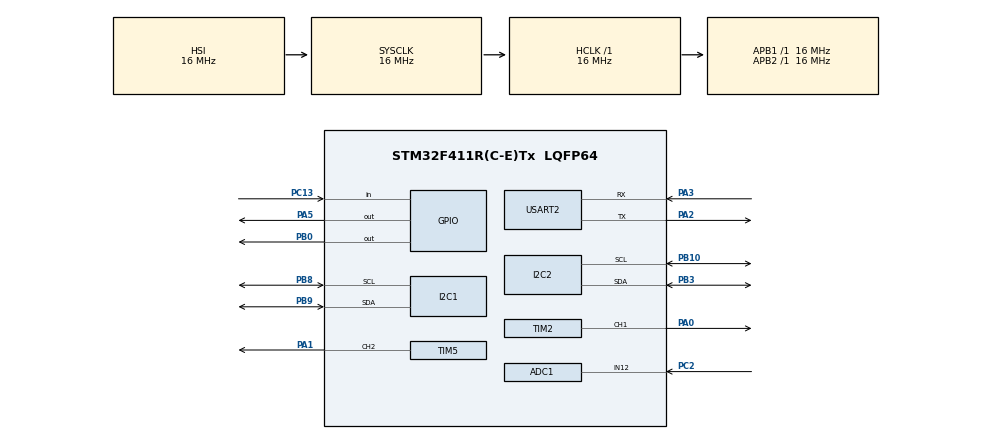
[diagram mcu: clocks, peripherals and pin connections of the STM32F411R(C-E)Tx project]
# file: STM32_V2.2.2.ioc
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ADC1.Channel-16\#ChannelRegularConversion=ADC_CHANNEL_12
ADC1.ContinuousConvMode=ENABLE
ADC1.EOCSelection=ADC_EOC_SEQ_CONV
ADC1.NbrOfConversionFlag=1
ADC1.Rank-16\#ChannelRegularConversion=1
ADC1.SamplingTime-16\#ChannelRegularConversion=ADC_SAMPLETIME_3CYCLES
ADC1.master=1
FREERTOS.Queues01=queue_ISENSE,256,uint16_t,NULL,Dynamic,NULL,NULL;queue_Direction,16,uint16_t,NULL,Dynamic,NULL,NULL;Queue_Propulsion,16,uint16_t,NULL,Dynamic,NULL,NULL
FREERTOS.Tasks01=task_UART,-1,128,start_Task_UART,Default,NULL,Dynamic,NULL,NULL;task_LED,-1,128,start_Task_LED,Default,NULL,Dynamic,NULL,NULL;task_I2C,1,128,start_Task_I2C,Default,NULL,Dynamic,NULL,NULL;task_Control,3,128,Task_Control,Default,NULL,Dynamic,NULL,NULL
I2C1.OwnAddress=0x20
I2C2.OwnAddress=0x30
Mcu.Family=STM32F4
Mcu.Name=STM32F411R(C-E)Tx
Mcu.Package=LQFP64
NVIC.I2C1_EV_IRQn=true\:5\:0\:true\:false\:true\:false\:true
NVIC.I2C2_EV_IRQn=true\:0\:0\:false\:false\:true\:false\:true
NVIC.PriorityGroup=NVIC_PRIORITYGROUP_4
PA0-WKUP.Signal=S_TIM2_CH1_ETR
PA1.Signal=S_TIM5_CH2
PA2.Mode=Asynchronous
PA2.Signal=USART2_TX
PA3.Mode=Asynchronous
PA3.Signal=USART2_RX
PA5.Signal=GPIO_Output
PB0.Signal=GPIO_Output
PB10.Mode=I2C
PB10.Signal=I2C2_SCL
PB3.Mode=I2C
PB3.Signal=I2C2_SDA
PB8.Mode=I2C
PB8.Signal=I2C1_SCL
PB9.Mode=I2C
PB9.Signal=I2C1_SDA
PC13-ANTI_TAMP.Signal=GPIO_Input
PC2.Signal=ADCx_IN12
ProjectManager.HeapSize=0x200
ProjectManager.StackSize=0x400
ProjectManager.TargetToolchain=SW4STM32
RCC.AHBFreq_Value=16000000
RCC.APB1Freq_Value=16000000
RCC.APB2Freq_Value=16000000
RCC.CortexFreq_Value=16000000
RCC.HSE_VALUE=25000000
RCC.HSI_VALUE=16000000
RCC.LSE_VALUE=32768
RCC.SYSCLKFreq_VALUE=16000000
RCC.VCOOutputFreq_Value=192000000
SH.ADCx_IN12.0=ADC1_IN12,IN12
SH.S_TIM2_CH1_ETR.0=TIM2_CH1,PWM Generation1 CH1
SH.S_TIM5_CH2.0=TIM5_CH2,PWM Generation2 CH2
TIM2.Channel-PWM\ Generation1\ CH1=TIM_CHANNEL_1
TIM5.Channel-PWM\ Generation2\ CH2=TIM_CHANNEL_2
USART2.VirtualMode=VM_ASYNC
VP_FREERTOS_VS_ENABLE.Mode=Enabled
board=STM32_V2.2.2

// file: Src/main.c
/**
  ******************************************************************************
  * File Name          : main.c
  * Description        : Main program body
  ******************************************************************************
  * This notice applies to any and all portions of this file
  * that are not between comment pairs USER CODE BEGIN and
  * USER CODE END. Other portions of this file, whether
  * inserted by the user or by software development tools
  * are owned by their respective copyright owners.
  *
  * Copyright (c) 2017 STMicroelectronics International N.V.
  * All rights reserved.
  *
  * Redistribution and use in source and binary forms, with or without
  * modification, are permitted, provided that the following conditions are met:
  *
  * 1. Redistribution of source code must retain the above copyright notice,
  *    this list of conditions and the following disclaimer.
  * 2. Redistributions in binary form must reproduce the above copyright notice,
  *    this list of conditions and the following disclaimer in the documentation
  *    and/or other materials provided with the distribution.
  * 3. Neither the name of STMicroelectronics nor the names of other
  *    contributors to this software may be used to endorse or promote products
  *    derived from this software without specific written permission.
  * 4. This software, including modifications and/or derivative works of this
  *    software, must execute solely and exclusively on microcontroller or
  *    microprocessor devices manufactured by or for STMicroelectronics.
  * 5. Redistribution and use of this software other than as permitted under
  *    this license is void and will automatically terminate your rights under
  *    this license.
  *
  * THIS SOFTWARE IS PROVIDED BY STMICROELECTRONICS AND CONTRIBUTORS "AS IS"
  * AND ANY EXPRESS, IMPLIED OR STATUTORY WARRANTIES, INCLUDING, BUT NOT
  * LIMITED TO, THE IMPLIED WARRANTIES OF MERCHANTABILITY, FITNESS FOR A
  * PARTICULAR PURPOSE AND NON-INFRINGEMENT OF THIRD PARTY INTELLECTUAL PROPERTY
  * RIGHTS ARE DISCLAIMED TO THE FULLEST EXTENT PERMITTED BY LAW. IN NO EVENT
  * SHALL STMICROELECTRONICS OR CONTRIBUTORS BE LIABLE FOR ANY DIRECT, INDIRECT,
  * INCIDENTAL, SPECIAL, EXEMPLARY, OR CONSEQUENTIAL DAMAGES (INCLUDING, BUT NOT
  * LIMITED TO, PROCUREMENT OF SUBSTITUTE GOODS OR SERVICES; LOSS OF USE, DATA,
  * OR PROFITS; OR BUSINESS INTERRUPTION) HOWEVER CAUSED AND ON ANY THEORY OF
  * LIABILITY, WHETHER IN CONTRACT, STRICT LIABILITY, OR TORT (INCLUDING
  * NEGLIGENCE OR OTHERWISE) ARISING IN ANY WAY OUT OF THE USE OF THIS SOFTWARE,
  * EVEN IF ADVISED OF THE POSSIBILITY OF SUCH DAMAGE.
  *
  ******************************************************************************
  */
#include <main.h>
#include "stm32f4xx_hal.h"
#include "cmsis_os.h"

/* USER CODE BEGIN Includes */
#include "UARTmenu.h"
/* USER CODE END Includes */

ADC_HandleTypeDef hadc1;

I2C_HandleTypeDef hi2c1;
I2C_HandleTypeDef hi2c2;

TIM_HandleTypeDef htim2;
TIM_HandleTypeDef htim5;

UART_HandleTypeDef huart2;

osThreadId task_UARTHandle;
osThreadId task_LEDHandle;
osThreadId task_I2CHandle;
osThreadId task_ControlHandle;
osMessageQId queue_ISENSEHandle;
osMessageQId queue_DirectionHandle;
osMessageQId Queue_PropulsionHandle;

/* USER CODE BEGIN PV */
/* Private variables ---------------------------------------------------------*/

/* USER CODE END PV */

void SystemClock_Config(void);
static void MX_GPIO_Init(void);
static void MX_ADC1_Init(void);
static void MX_USART2_UART_Init(void);
static void MX_TIM2_Init(void);
static void MX_I2C1_Init(void);
static void MX_I2C2_Init(void);
static void MX_TIM5_Init(void);
void start_Task_UART(void const * argument);
void start_Task_LED(void const * argument);
void start_Task_I2C(void const * argument);
void Task_Control(void const * argument);

void HAL_TIM_MspPostInit(TIM_HandleTypeDef *htim);

/* USER CODE BEGIN PFP */
/* Private function prototypes -----------------------------------------------*/
/* USER CODE END PFP */

/* USER CODE BEGIN 0 */
int manual_mode = 0;
int etat_LED = 1; // 0 --> critical error ; 1 --> normal and I2C ; 2 --> normal and UART connection
char I2C_buffer[15];
/* USER CODE END 0 */

int main(void)
{

  /* MCU Configuration----------------------------------------------------------*/

  /* Reset of all peripherals, Initializes the Flash interface and the Systick. */
  HAL_Init();

  /* Configure the system clock */
  SystemClock_Config();

  /* Initialize all configured peripherals */
  MX_GPIO_Init();
  MX_ADC1_Init();
  MX_USART2_UART_Init();
  MX_TIM2_Init();
  MX_I2C1_Init();
  MX_I2C2_Init();
  MX_TIM5_Init();

  /* USER CODE BEGIN 2 */
  UART_START_MENU(&huart2);
  HAL_ADC_Start(&hadc1);
  /* USER CODE END 2 */

  /* Create the thread(s) */
  /* definition and creation of task_UART */
  osThreadDef(task_UART, start_Task_UART, osPriorityBelowNormal, 0, 128);
  task_UARTHandle = osThreadCreate(osThread(task_UART), NULL);

  /* definition and creation of task_LED */
  osThreadDef(task_LED, start_Task_LED, osPriorityBelowNormal, 0, 128);
  task_LEDHandle = osThreadCreate(osThread(task_LED), NULL);

  /* definition and creation of task_I2C */
  osThreadDef(task_I2C, start_Task_I2C, osPriorityAboveNormal, 0, 128);
  task_I2CHandle = osThreadCreate(osThread(task_I2C), NULL);

  /* definition and creation of task_Control */
  osThreadDef(task_Control, Task_Control, osPriorityRealtime, 0, 128);
  task_ControlHandle = osThreadCreate(osThread(task_Control), NULL);

  /* Create the queue(s) */
  /* definition and creation of queue_ISENSE */
  osMessageQDef(queue_ISENSE, 256, uint16_t);
  queue_ISENSEHandle = osMessageCreate(osMessageQ(queue_ISENSE), NULL);

  /* definition and creation of queue_Direction */
  osMessageQDef(queue_Direction, 16, uint16_t);
  queue_DirectionHandle = osMessageCreate(osMessageQ(queue_Direction), NULL);

  /* definition and creation of Queue_Propulsion */
  osMessageQDef(Queue_Propulsion, 16, uint16_t);
  Queue_PropulsionHandle = osMessageCreate(osMessageQ(Queue_Propulsion), NULL);

  /* Start scheduler */
  osKernelStart();

  /* We should never get here as control is now taken by the scheduler */

  /* Infinite loop */
  while (1)
  {

  }

}

/** System Clock Configuration
*/
void SystemClock_Config(void)
{

  RCC_OscInitTypeDef RCC_OscInitStruct;
  RCC_ClkInitTypeDef RCC_ClkInitStruct;

    /**Configure the main internal regulator output voltage
    */
  __HAL_RCC_PWR_CLK_ENABLE();

  __HAL_PWR_VOLTAGESCALING_CONFIG(PWR_REGULATOR_VOLTAGE_SCALE1);

    /**Initializes the CPU, AHB and APB busses clocks
    */
  RCC_OscInitStruct.OscillatorType = RCC_OSCILLATORTYPE_HSI;
  RCC_OscInitStruct.HSIState = RCC_HSI_ON;
  RCC_OscInitStruct.HSICalibrationValue = 16;
  RCC_OscInitStruct.PLL.PLLState = RCC_PLL_NONE;
  if (HAL_RCC_OscConfig(&RCC_OscInitStruct) != HAL_OK)
  {
    _Error_Handler(__FILE__, __LINE__);
  }

    /**Initializes the CPU, AHB and APB busses clocks
    */
  RCC_ClkInitStruct.ClockType = RCC_CLOCKTYPE_HCLK|RCC_CLOCKTYPE_SYSCLK
                              |RCC_CLOCKTYPE_PCLK1|RCC_CLOCKTYPE_PCLK2;
  RCC_ClkInitStruct.SYSCLKSource = RCC_SYSCLKSOURCE_HSI;
  RCC_ClkInitStruct.AHBCLKDivider = RCC_SYSCLK_DIV1;
  RCC_ClkInitStruct.APB1CLKDivider = RCC_HCLK_DIV1;
  RCC_ClkInitStruct.APB2CLKDivider = RCC_HCLK_DIV1;

  if (HAL_RCC_ClockConfig(&RCC_ClkInitStruct, FLASH_LATENCY_0) != HAL_OK)
  {
    _Error_Handler(__FILE__, __LINE__);
  }

    /**Configure the Systick interrupt time
    */
  HAL_SYSTICK_Config(HAL_RCC_GetHCLKFreq()/1000);

    /**Configure the Systick
    */
  HAL_SYSTICK_CLKSourceConfig(SYSTICK_CLKSOURCE_HCLK);

  /* SysTick_IRQn interrupt configuration */
  HAL_NVIC_SetPriority(SysTick_IRQn, 15, 0);
}

/* ADC1 init function */
static void MX_ADC1_Init(void)
{

  ADC_ChannelConfTypeDef sConfig;

    /**Configure the global features of the ADC (Clock, Resolution, Data Alignment and number of conversion)
    */
  hadc1.Instance = ADC1;
  hadc1.Init.ClockPrescaler = ADC_CLOCK_SYNC_PCLK_DIV2;
  hadc1.Init.Resolution = ADC_RESOLUTION_12B;
  hadc1.Init.ScanConvMode = DISABLE;
  hadc1.Init.ContinuousConvMode = ENABLE;
  hadc1.Init.DiscontinuousConvMode = DISABLE;
  hadc1.Init.ExternalTrigConvEdge = ADC_EXTERNALTRIGCONVEDGE_NONE;
  hadc1.Init.ExternalTrigConv = ADC_SOFTWARE_START;
  hadc1.Init.DataAlign = ADC_DATAALIGN_RIGHT;
  hadc1.Init.NbrOfConversion = 1;
  hadc1.Init.DMAContinuousRequests = DISABLE;
  hadc1.Init.EOCSelection = ADC_EOC_SEQ_CONV;
  if (HAL_ADC_Init(&hadc1) != HAL_OK)
  {
    _Error_Handler(__FILE__, __LINE__);
  }

    /**Configure for the selected ADC regular channel its corresponding rank in the sequencer and its sample time.
    */
  sConfig.Channel = ADC_CHANNEL_12;
  sConfig.Rank = 1;
  sConfig.SamplingTime = ADC_SAMPLETIME_3CYCLES;
  if (HAL_ADC_ConfigChannel(&hadc1, &sConfig) != HAL_OK)
  {
    _Error_Handler(__FILE__, __LINE__);
  }

}

/* I2C1 init function */
static void MX_I2C1_Init(void)
{

  hi2c1.Instance = I2C1;
  hi2c1.Init.ClockSpeed = 100000;
  hi2c1.Init.DutyCycle = I2C_DUTYCYCLE_2;
  hi2c1.Init.OwnAddress1 = 64;
  hi2c1.Init.AddressingMode = I2C_ADDRESSINGMODE_7BIT;
  hi2c1.Init.DualAddressMode = I2C_DUALADDRESS_DISABLE;
  hi2c1.Init.OwnAddress2 = 0;
  hi2c1.Init.GeneralCallMode = I2C_GENERALCALL_DISABLE;
  hi2c1.Init.NoStretchMode = I2C_NOSTRETCH_DISABLE;
  if (HAL_I2C_Init(&hi2c1) != HAL_OK)
  {
    _Error_Handler(__FILE__, __LINE__);
  }

}

/* I2C2 init function */
static void MX_I2C2_Init(void)
{

  hi2c2.Instance = I2C2;
  hi2c2.Init.ClockSpeed = 100000;
  hi2c2.Init.DutyCycle = I2C_DUTYCYCLE_2;
  hi2c2.Init.OwnAddress1 = 96;
  hi2c2.Init.AddressingMode = I2C_ADDRESSINGMODE_7BIT;
  hi2c2.Init.DualAddressMode = I2C_DUALADDRESS_DISABLE;
  hi2c2.Init.OwnAddress2 = 0;
  hi2c2.Init.GeneralCallMode = I2C_GENERALCALL_DISABLE;
  hi2c2.Init.NoStretchMode = I2C_NOSTRETCH_DISABLE;
  if (HAL_I2C_Init(&hi2c2) != HAL_OK)
  {
    _Error_Handler(__FILE__, __LINE__);
  }

}

/* TIM2 init function */
static void MX_TIM2_Init(void)
{

  TIM_MasterConfigTypeDef sMasterConfig;
  TIM_OC_InitTypeDef sConfigOC;

  htim2.Instance = TIM2;
  htim2.Init.Prescaler = 0;
  htim2.Init.CounterMode = TIM_COUNTERMODE_UP;
  htim2.Init.Period = 0;
  htim2.Init.ClockDivision = TIM_CLOCKDIVISION_DIV1;
  if (HAL_TIM_PWM_Init(&htim2) != HAL_OK)
  {
    _Error_Handler(__FILE__, __LINE__);
  }

  sMasterConfig.MasterOutputTrigger = TIM_TRGO_RESET;
  sMasterConfig.MasterSlaveMode = TIM_MASTERSLAVEMODE_DISABLE;
  if (HAL_TIMEx_MasterConfigSynchronization(&htim2, &sMasterConfig) != HAL_OK)
  {
    _Error_Handler(__FILE__, __LINE__);
  }

  sConfigOC.OCMode = TIM_OCMODE_PWM1;
  sConfigOC.Pulse = 0;
  sConfigOC.OCPolarity = TIM_OCPOLARITY_HIGH;
  sConfigOC.OCFastMode = TIM_OCFAST_DISABLE;
  if (HAL_TIM_PWM_ConfigChannel(&htim2, &sConfigOC, TIM_CHANNEL_1) != HAL_OK)
  {
    _Error_Handler(__FILE__, __LINE__);
  }

  HAL_TIM_MspPostInit(&htim2);

}

/* TIM5 init function */
static void MX_TIM5_Init(void)
{

  TIM_MasterConfigTypeDef sMasterConfig;
  TIM_OC_InitTypeDef sConfigOC;

  htim5.Instance = TIM5;
  htim5.Init.Prescaler = 0;
  htim5.Init.CounterMode = TIM_COUNTERMODE_UP;
  htim5.Init.Period = 0;
  htim5.Init.ClockDivision = TIM_CLOCKDIVISION_DIV1;
  if (HAL_TIM_PWM_Init(&htim5) != HAL_OK)
  {
    _Error_Handler(__FILE__, __LINE__);
  }

  sMasterConfig.MasterOutputTrigger = TIM_TRGO_RESET;
  sMasterConfig.MasterSlaveMode = TIM_MASTERSLAVEMODE_DISABLE;
  if (HAL_TIMEx_MasterConfigSynchronization(&htim5, &sMasterConfig) != HAL_OK)
  {
    _Error_Handler(__FILE__, __LINE__);
  }

  sConfigOC.OCMode = TIM_OCMODE_PWM1;
  sConfigOC.Pulse = 0;
  sConfigOC.OCPolarity = TIM_OCPOLARITY_HIGH;
  sConfigOC.OCFastMode = TIM_OCFAST_DISABLE;
  if (HAL_TIM_PWM_ConfigChannel(&htim5, &sConfigOC, TIM_CHANNEL_2) != HAL_OK)
  {
    _Error_Handler(__FILE__, __LINE__);
  }

  HAL_TIM_MspPostInit(&htim5);

}

/* USART2 init function */
static void MX_USART2_UART_Init(void)
{

  huart2.Instance = USART2;
  huart2.Init.BaudRate = 115200;
  huart2.Init.WordLength = UART_WORDLENGTH_8B;
  huart2.Init.StopBits = UART_STOPBITS_1;
  huart2.Init.Parity = UART_PARITY_NONE;
  huart2.Init.Mode = UART_MODE_TX_RX;
  huart2.Init.HwFlowCtl = UART_HWCONTROL_NONE;
  huart2.Init.OverSampling = UART_OVERSAMPLING_16;
  if (HAL_UART_Init(&huart2) != HAL_OK)
  {
    _Error_Handler(__FILE__, __LINE__);
  }

}

/** Configure pins as
        * Analog
        * Input
        * Output
        * EVENT_OUT
        * EXTI
*/
static void MX_GPIO_Init(void)
{

  GPIO_InitTypeDef GPIO_InitStruct;

  /* GPIO Ports Clock Enable */
  __HAL_RCC_GPIOC_CLK_ENABLE();
  __HAL_RCC_GPIOA_CLK_ENABLE();
  __HAL_RCC_GPIOB_CLK_ENABLE();

  /*Configure GPIO pin Output Level */
  HAL_GPIO_WritePin(GPIOA, GPIO_PIN_5, GPIO_PIN_RESET);

  /*Configure GPIO pin Output Level */
  HAL_GPIO_WritePin(GPIOB, GPIO_PIN_0, GPIO_PIN_RESET);

  /*Configure GPIO pin : PC13 */
  GPIO_InitStruct.Pin = GPIO_PIN_13;
  GPIO_InitStruct.Mode = GPIO_MODE_INPUT;
  GPIO_InitStruct.Pull = GPIO_NOPULL;
  HAL_GPIO_Init(GPIOC, &GPIO_InitStruct);

  /*Configure GPIO pin : PA5 */
  GPIO_InitStruct.Pin = GPIO_PIN_5;
  GPIO_InitStruct.Mode = GPIO_MODE_OUTPUT_PP;
  GPIO_InitStruct.Pull = GPIO_NOPULL;
  GPIO_InitStruct.Speed = GPIO_SPEED_FREQ_LOW;
  HAL_GPIO_Init(GPIOA, &GPIO_InitStruct);

  /*Configure GPIO pin : PB0 */
  GPIO_InitStruct.Pin = GPIO_PIN_0;
  GPIO_InitStruct.Mode = GPIO_MODE_OUTPUT_PP;
  GPIO_InitStruct.Pull = GPIO_NOPULL;
  GPIO_InitStruct.Speed = GPIO_SPEED_FREQ_LOW;
  HAL_GPIO_Init(GPIOB, &GPIO_InitStruct);

}

/* USER CODE BEGIN 4 */
float b[2] = {1.126, -1.085};
float a[2] = {1, -1};
float e[2] = {0, 0};
float s[2] = {0, 0};
float u;

float REGUL(float cmd_manette, float ADC_value)
{

	/* MAJ e et s*/
	e[1]=e[0];
	e[0]=cmd_manette;

	s[1]=s[0];
	s[0]=ADC_value;

	/* Calcul de la commande */

	u = (1/a[0])*( (b[0]*(e[0]-s[0]) + b[1]*(e[1]-s[1]) - a[1]*u));

	return u;
}
/* USER CODE END 4 */

/* start_Task_UART function */
void start_Task_UART(void const * argument)
{

  /* USER CODE BEGIN 5 */
  /* Infinite loop */
  for(;;)
  {
    osDelay(500);
    UART_MENU(&huart2,&manual_mode,&etat_LED,&Queue_PropulsionHandle,&queue_DirectionHandle,&queue_ISENSEHandle);

  }
  /* USER CODE END 5 */
}

/* start_Task_LED function */
void start_Task_LED(void const * argument)
{
  /* USER CODE BEGIN start_Task_LED */
  /* Infinite loop */
  for(;;)
  {
		int T = 0;
		for (;;) {
			if (etat_LED == 0) {
				LED_ON_NUCLEO;
				LED_ON_OUT;
				osDelay(1000);
			} else {
				if (etat_LED == 1) {
					T = 1000;
				}
				if (etat_LED == 2) {
					T = 200;
				}
				LED_ON_NUCLEO;
				LED_ON_OUT;
				osDelay(T / 2);
				LED_OFF_NUCLEO;
				LED_OFF_OUT;
				osDelay(T / 2);
			}
		}
  }
  /* USER CODE END start_Task_LED */
}

/* start_Task_I2C function */
void start_Task_I2C(void const * argument)
{
  /* USER CODE BEGIN start_Task_I2C */
	int prop_i2c;
	int dir_i2c;
	char buff[30];

  /* Infinite loop */
  for(;;)
  {
	if(!manual_mode){
		 if(HAL_I2C_Slave_Receive_IT(&hi2c1,I2C_buffer,BUFFER_SIZE) == HAL_OK){

			 char *pEnd;

			 prop_i2c = strtol(I2C_buffer, &pEnd, 10);
			 dir_i2c = strtol(pEnd, NULL, 10);

			 sprintf(buff, "%d %d\n\r", prop_i2c, dir_i2c);
			 UART_PUTS(&huart2, buff);

			 osMessagePut(Queue_PropulsionHandle,prop_i2c,0);
			 osMessagePut(queue_DirectionHandle,dir_i2c,0);

		 }
	}
    osDelay(50);
  }

  /* USER CODE END start_Task_I2C */
}

/* Task_Control function */
void Task_Control(void const * argument)
{
  /* USER CODE BEGIN Task_Control */
  /* Infinite loop */
    int sensor = 0 ;
    int cmd_prop=0,cmd_dir = 0;
    volatile float cmd_regul;
    char sensor_char[20];

    osEvent cmd_event_prop,cmd_event_dir;
      /* Infinite loop */
      for(;;)
      {
        if (HAL_ADC_PollForConversion(&hadc1,100U)==HAL_OK)
        {
    		sensor = HAL_ADC_GetValue(&hadc1)*7;
    		osMessagePut(queue_ISENSEHandle,sensor,0);
//    		sprintf(sensor_char,"%d \n\r",sensor);
//    		UART_PUTS(&huart2,sensor_char);
        }

        cmd_event_prop = osMessageGet(Queue_PropulsionHandle,0);
        if(cmd_event_prop.status==osEventMessage){
        	cmd_prop =cmd_event_prop.value.v;
        	PWM_Prop(&htim5, cmd_prop*100/1023);
        }
        //cmd_regul = REGUL(cmd_prop,0);

        cmd_event_dir = osMessageGet(queue_DirectionHandle,0);
        cmd_dir = cmd_event_dir.value.v -127;
        if(cmd_event_dir.status==osEventMessage){
        	//
        	PWM_Dir(&htim2, (128-cmd_dir)*3/255+10);
        }
        osDelay(10);

      }
  /* USER CODE END Task_Control */
}

void _Error_Handler(char * file, int line)
{
  /* USER CODE BEGIN Error_Handler_Debug */
  /* User can add his own implementation to report the HAL error return state */
  while(1)
  {
	  etat_LED = 0;
  }
  /* USER CODE END Error_Handler_Debug */
}

/************************ (C) COPYRIGHT STMicroelectronics *****END OF FILE****/
